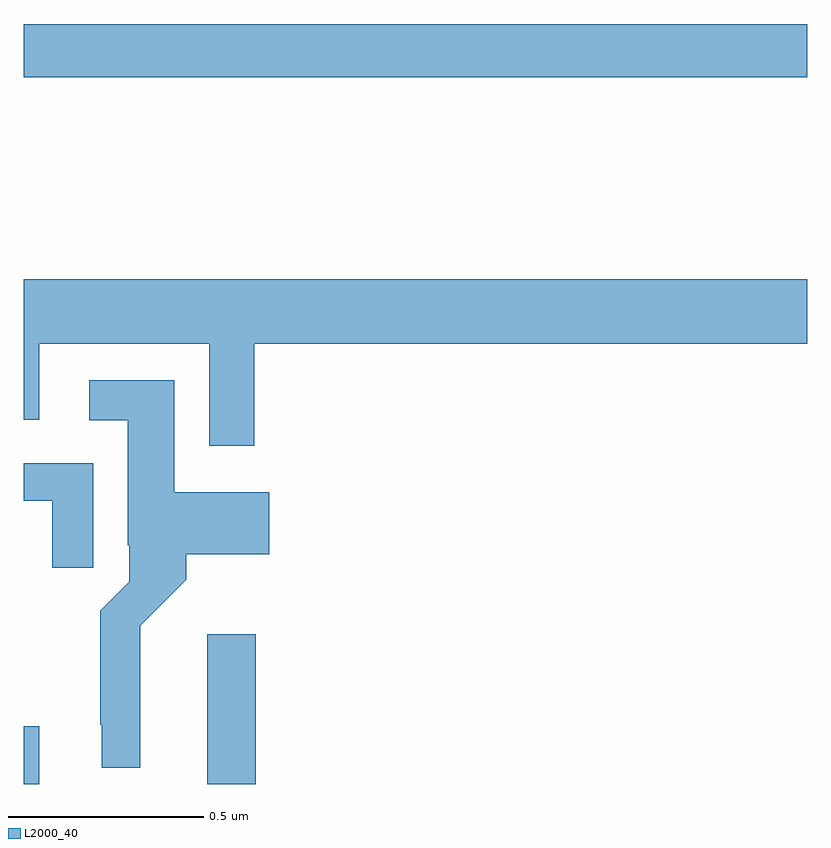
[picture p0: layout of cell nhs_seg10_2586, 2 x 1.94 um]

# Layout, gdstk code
import gdstk
lib = gdstk.Library(unit=1e-6, precision=1e-09)
def R(c, l, rs):  # rectangles x0, y0, x1, y1
    for r in rs: c.add(gdstk.rectangle(r[:2], r[2:], *l))
def P(c, l, *ps):  # polygons
    for p in ps: c.add(gdstk.Polygon(p, *l))
L2000_40 = (2000, 40)

nhs_seg10_2586 = lib.new_cell('nhs_seg10_2586')
R(nhs_seg10_2586, L2000_40, [(142,1324.5,142.039,1324.648), (142.469,1324.5,142.592,1324.882), (142,1326.304,144,1326.44)])
P(nhs_seg10_2586, L2000_40, [(142.589,1325.624),(144,1325.624),(144,1325.788),(142,1325.788),(142,1325.43),(142.039,1325.43),(142.039,1325.624),(142.473,1325.624),(142.473,1325.364),(142.589,1325.364)],
  [(142.297,1324.904),(142.415,1325.022),(142.415,1325.087),(142.627,1325.087),(142.627,1325.245),(142.384,1325.245),(142.384,1325.53),(142.167,1325.53),(142.167,1325.429),(142.265,1325.429),(142.265,1325.11),(142.269,1325.11),(142.269,1325.016),(142.195,1324.942),(142.195,1324.651),(142.199,1324.651),(142.199,1324.541),(142.297,1324.541)],
  [(142.177,1325.319),(142,1325.319),(142,1325.223),(142.073,1325.223),(142.073,1325.052),(142.177,1325.052)])

lib.write_gds('nhs_seg10_2586.gds')
